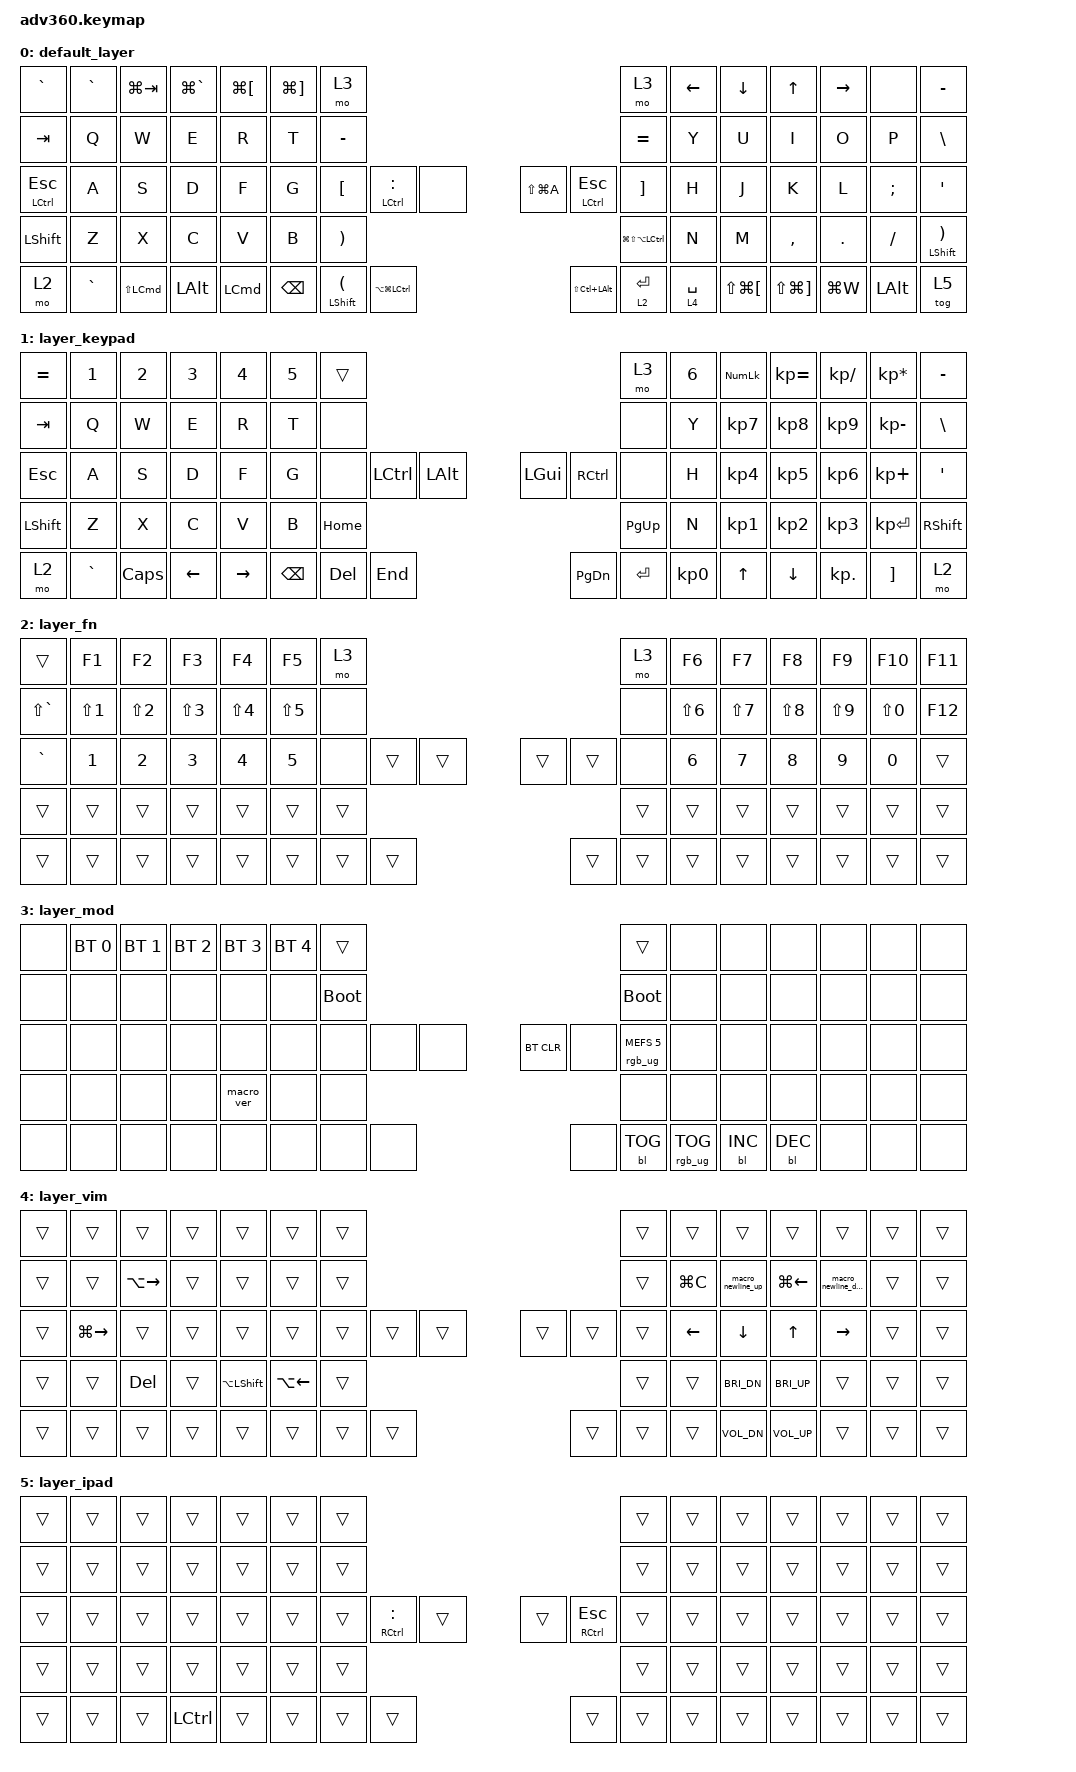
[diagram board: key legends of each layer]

/*
 * Copyright (c) 2020 The ZMK Contributors
 *
 * SPDX-License-Identifier: MIT
 */


/* THIS FILE WAS GENERATED!
 *
 * This file was generated automatically. You may or may not want to
 * edit it directly.
 */

#include <behaviors.dtsi>
#include <dt-bindings/zmk/keys.h>
#include <dt-bindings/zmk/bt.h>
#include <dt-bindings/zmk/rgb.h>
#include <dt-bindings/zmk/backlight.h>

/ {
  behaviors {
    #include "macros.dtsi"
    #include "version.dtsi"

    hm: homerow_mods {
        compatible = "zmk,behavior-hold-tap";
        label = "HOMEROW_MODS";
        #binding-cells = <2>;
        tapping-term-ms = <200>;
        quick_tap_ms = <175>;
        flavor = "tap-preferred";
        bindings = <&kp>, <&kp>;
    };
  };

    keymap {
        compatible = "zmk,keymap";


        default_layer {
            bindings = <
     &kp GRAVE  &kp GRAVE           &kp LG(TAB)  &kp LG(GRAVE)  &kp LG(LEFT_BRACKET)  &kp LG(RIGHT_BRACKET)                       &mo 3                                                                                                                            &mo 3  &kp LEFT_ARROW            &kp DOWN_ARROW               &kp UP_ARROW  &kp RIGHT_ARROW         &none                         &kp MINUS
       &kp TAB      &kp Q                 &kp W          &kp E                 &kp R                  &kp T                   &kp MINUS                                                                                                                        &kp EQUAL           &kp Y                     &kp U                      &kp I            &kp O         &kp P                          &kp BSLH
 &mt LCTRL ESC      &kp A                 &kp S          &kp D                 &kp F                  &kp G            &kp LEFT_BRACKET                  &mt LCTRL COLON                  &none                          &kp LS(LG(A))  &mt LCTRL ESC  &kp RIGHT_BRACKET           &kp H                     &kp J                      &kp K            &kp L      &kp SEMI                           &kp SQT
     &kp LSHFT      &kp Z                 &kp X          &kp C                 &kp V                  &kp B                                                               &kp RIGHT_PARENTHESIS                  &kp LG(LS(LA(LCTRL)))                                             &kp N                     &kp M                  &kp COMMA          &kp DOT      &kp FSLH  &mt LEFT_SHIFT RIGHT_PARENTHESIS
         &mo 2  &kp GRAVE  &kp LS(LEFT_COMMAND)   &kp LEFT_ALT      &kp LEFT_COMMAND                                           &kp BSPC  &mt LEFT_SHIFT LEFT_PARENTHESIS      &kp LA(LG(LCTRL))                       &kp LS(LC(LALT))    &lt 2 ENTER        &lt 4 SPACE                  &kp LS(LG(LEFT_BRACKET))  &kp LS(LG(RIGHT_BRACKET))        &kp LG(W)  &kp LEFT_ALT                            &tog 5
            >;
        };

        layer_keypad {
            bindings = <
 &kp EQUAL     &kp N1    &kp N2    &kp N3     &kp N4  &kp N5              &trans                                                                 &mo 3  &kp N6  &kp KP_NUM  &kp KP_EQUAL  &kp KP_DIVIDE  &kp KP_MULTIPLY  &kp MINUS
   &kp TAB      &kp Q     &kp W     &kp E      &kp R   &kp T               &none                                                                 &none   &kp Y   &kp KP_N7     &kp KP_N8      &kp KP_N9     &kp KP_MINUS   &kp BSLH
   &kp ESC      &kp A     &kp S     &kp D      &kp F   &kp G               &none  &kp LCTRL  &kp LALT                   &kp LGUI  &kp RCTRL      &none   &kp H   &kp KP_N4     &kp KP_N5      &kp KP_N6      &kp KP_PLUS    &kp SQT
 &kp LSHFT      &kp Z     &kp X     &kp C      &kp V   &kp B                                 &kp HOME                  &kp PG_UP                         &kp N   &kp KP_N1     &kp KP_N2      &kp KP_N3     &kp KP_ENTER  &kp RSHFT
     &mo 2  &kp GRAVE  &kp CAPS  &kp LEFT  &kp RIGHT                    &kp BSPC    &kp DEL   &kp END                  &kp PG_DN  &kp ENTER  &kp KP_N0              &kp UP      &kp DOWN     &kp KP_DOT         &kp RBKT      &mo 2
            >;
        };

        layer_fn {
            bindings = <
        &trans      &kp F1      &kp F2      &kp F3      &kp F4      &kp F5             &mo 3                                                   &mo 3      &kp F6      &kp F7      &kp F8      &kp F9     &kp F10  &kp F11
 &kp LS(GRAVE)  &kp LS(N1)  &kp LS(N2)  &kp LS(N3)  &kp LS(N4)  &kp LS(N5)             &none                                                   &none  &kp LS(N6)  &kp LS(N7)  &kp LS(N8)  &kp LS(N9)  &kp LS(N0)  &kp F12
     &kp GRAVE      &kp N1      &kp N2      &kp N3      &kp N4      &kp N5             &none  &trans  &trans                  &trans  &trans   &none      &kp N6      &kp N7      &kp N8      &kp N9      &kp N0   &trans
        &trans      &trans      &trans      &trans      &trans      &trans                            &trans                  &trans                      &trans      &trans      &trans      &trans      &trans   &trans
        &trans      &trans      &trans      &trans      &trans                        &trans  &trans  &trans                  &trans  &trans  &trans                  &trans      &trans      &trans      &trans   &trans
            >;
        };

        layer_mod {
            bindings = <
  &none  &bt BT_SEL 0  &bt BT_SEL 1  &bt BT_SEL 2  &bt BT_SEL 3  &bt BT_SEL 4                 &trans                                                                          &trans   &none       &none       &none   &none   &none   &none
  &none         &none         &none         &none         &none         &none            &bootloader                                                                     &bootloader   &none       &none       &none   &none   &none   &none
  &none         &none         &none         &none         &none         &none                  &none   &none   &none                  &bt BT_CLR       &none  &rgb_ug RGB_MEFS_CMD 5   &none       &none       &none   &none   &none   &none
  &none         &none         &none         &none    &macro_ver         &none                                  &none                       &none                                       &none       &none       &none   &none   &none   &none
  &none         &none         &none         &none         &none                                &none   &none   &none                       &none  &bl BL_TOG         &rgb_ug RGB_TOG          &bl BL_INC  &bl BL_DEC   &none   &none   &none
            >;
        };

        layer_vim {
            bindings = <
 &trans               &trans               &trans  &trans              &trans              &trans            &trans                                                  &trans          &trans             &trans              &trans               &trans  &trans  &trans
 &trans               &trans  &kp LA(RIGHT_ARROW)  &trans              &trans              &trans            &trans                                                  &trans       &kp LG(C)  &macro_newline_up  &kp LG(LEFT_ARROW)  &macro_newline_down  &trans  &trans
 &trans  &kp LG(RIGHT_ARROW)               &trans  &trans              &trans              &trans            &trans  &trans  &trans                  &trans  &trans  &trans  &kp LEFT_ARROW     &kp DOWN_ARROW        &kp UP_ARROW      &kp RIGHT_ARROW  &trans  &trans
 &trans               &trans           &kp DELETE  &trans  &kp LA(LEFT_SHIFT)  &kp LA(LEFT_ARROW)                            &trans                  &trans                          &trans       &kp C_BRI_DN        &kp C_BRI_UP               &trans  &trans  &trans
 &trans               &trans               &trans  &trans              &trans                                &trans  &trans  &trans                  &trans  &trans  &trans                       &kp C_VOL_DN        &kp C_VOL_UP               &trans  &trans  &trans
            >;
        };

        layer_ipad {
            bindings = <
 &trans  &trans  &trans     &trans  &trans  &trans            &trans                                                                          &trans  &trans  &trans  &trans  &trans  &trans  &trans
 &trans  &trans  &trans     &trans  &trans  &trans            &trans                                                                          &trans  &trans  &trans  &trans  &trans  &trans  &trans
 &trans  &trans  &trans     &trans  &trans  &trans            &trans  &mt RCTRL COLON  &trans                  &trans  &mt RIGHT_CONTROL ESC  &trans  &trans  &trans  &trans  &trans  &trans  &trans
 &trans  &trans  &trans     &trans  &trans  &trans                                     &trans                  &trans                                 &trans  &trans  &trans  &trans  &trans  &trans
 &trans  &trans  &trans  &kp LCTRL  &trans                    &trans           &trans  &trans                  &trans                 &trans  &trans          &trans  &trans  &trans  &trans  &trans
            >;
        };

    };
};
